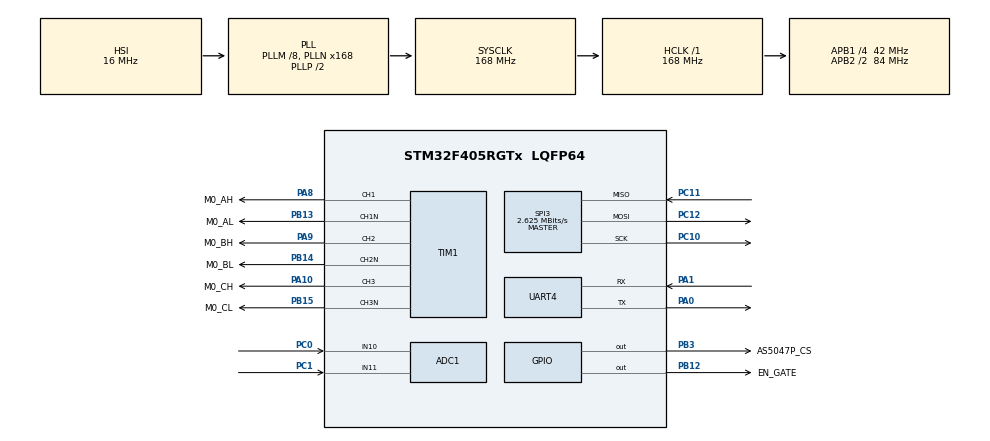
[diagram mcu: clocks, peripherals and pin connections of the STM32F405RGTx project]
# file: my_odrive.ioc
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ADC1.Channel-0\#ChannelRegularConversion=ADC_CHANNEL_10
ADC1.Channel-1\#ChannelInjectedConversion=ADC_CHANNEL_10
ADC1.Channel-2\#ChannelInjectedConversion=ADC_CHANNEL_11
ADC1.ExternalTrigInjecConv=ADC_EXTERNALTRIGINJECCONV_T1_TRGO
ADC1.InjNumberOfConversion=2
ADC1.InjectedOffset-1\#ChannelInjectedConversion=0
ADC1.InjectedOffset-2\#ChannelInjectedConversion=0
ADC1.InjectedRank-1\#ChannelInjectedConversion=1
ADC1.InjectedRank-2\#ChannelInjectedConversion=2
ADC1.NbrOfConversion=1
ADC1.NbrOfConversionFlag=1
ADC1.Rank-0\#ChannelRegularConversion=1
ADC1.SamplingTime-0\#ChannelRegularConversion=ADC_SAMPLETIME_3CYCLES
ADC1.SamplingTime-1\#ChannelInjectedConversion=ADC_SAMPLETIME_3CYCLES
ADC1.SamplingTime-2\#ChannelInjectedConversion=ADC_SAMPLETIME_3CYCLES
ADC1.master=1
Dma.Request0=SPI3_RX
Dma.Request1=SPI3_TX
Dma.SPI3_RX.0.Direction=DMA_PERIPH_TO_MEMORY
Dma.SPI3_RX.0.FIFOMode=DMA_FIFOMODE_DISABLE
Dma.SPI3_RX.0.Instance=DMA1_Stream0
Dma.SPI3_RX.0.MemDataAlignment=DMA_MDATAALIGN_HALFWORD
Dma.SPI3_RX.0.MemInc=DMA_MINC_ENABLE
Dma.SPI3_RX.0.Mode=DMA_NORMAL
Dma.SPI3_RX.0.PeriphDataAlignment=DMA_PDATAALIGN_HALFWORD
Dma.SPI3_RX.0.PeriphInc=DMA_PINC_DISABLE
Dma.SPI3_RX.0.Priority=DMA_PRIORITY_LOW
Dma.SPI3_TX.1.Direction=DMA_MEMORY_TO_PERIPH
Dma.SPI3_TX.1.FIFOMode=DMA_FIFOMODE_DISABLE
Dma.SPI3_TX.1.Instance=DMA1_Stream5
Dma.SPI3_TX.1.MemDataAlignment=DMA_MDATAALIGN_HALFWORD
Dma.SPI3_TX.1.MemInc=DMA_MINC_ENABLE
Dma.SPI3_TX.1.Mode=DMA_NORMAL
Dma.SPI3_TX.1.PeriphDataAlignment=DMA_PDATAALIGN_HALFWORD
Dma.SPI3_TX.1.PeriphInc=DMA_PINC_DISABLE
Dma.SPI3_TX.1.Priority=DMA_PRIORITY_LOW
Mcu.Family=STM32F4
Mcu.Name=STM32F405RGTx
Mcu.Package=LQFP64
Mcu.UserConstants=TIM_1_8_PERIOD_CLOCKS,2099;TIM_APB1_CLOCK_HZ,84000000;TIM_APB1_DEADTIME_CLOCKS,40;TIM_APB1_PERIOD_CLOCKS,4096;TIM_1_8_RCR,2;TIM_1_8_DEADTIME_CLOCKS,20;TIM_1_8_CLOCK_HZ,168000000
NVIC.ADC_IRQn=true\:1\:0\:true\:false\:true\:true\:true\:true
NVIC.DMA1_Stream0_IRQn=true\:0\:0\:false\:false\:true\:false\:true\:true
NVIC.DMA1_Stream5_IRQn=true\:0\:0\:false\:false\:true\:false\:true\:true
NVIC.PriorityGroup=NVIC_PRIORITYGROUP_4
NVIC.SPI3_IRQn=true\:0\:0\:false\:false\:true\:true\:true\:true
NVIC.TIM2_IRQn=true\:1\:0\:true\:false\:true\:true\:true\:true
NVIC.TIM8_TRG_COM_TIM14_IRQn=true\:15\:0\:false\:false\:true\:false\:true\:true
NVIC.TimeBase=TIM8_TRG_COM_TIM14_IRQn
NVIC.TimeBaseIP=TIM14
PA0-WKUP.Mode=Asynchronous
PA0-WKUP.Signal=UART4_TX
PA1.Mode=Asynchronous
PA1.Signal=UART4_RX
PA10.GPIO_Label=M0_CH
PA10.Signal=S_TIM1_CH3
PA13.Mode=Serial_Wire
PA13.Signal=SYS_JTMS-SWDIO
PA14.Mode=Serial_Wire
PA14.Signal=SYS_JTCK-SWCLK
PA6.GPIO_Label=VBS_S
PA6.Signal=ADCx_IN6
PA8.GPIO_Label=M0_AH
PA8.Signal=S_TIM1_CH1
PA9.GPIO_Label=M0_BH
PA9.Signal=S_TIM1_CH2
PB12.GPIO_Label=EN_GATE
PB12.Signal=GPIO_Output
PB13.GPIO_Label=M0_AL
PB13.Mode=PWM Generation1 CH1 CH1N
PB13.Signal=TIM1_CH1N
PB14.GPIO_Label=M0_BL
PB14.Mode=PWM Generation2 CH2 CH2N
PB14.Signal=TIM1_CH2N
PB15.GPIO_Label=M0_CL
PB15.Mode=PWM Generation3 CH3 CH3N
PB15.Signal=TIM1_CH3N
PB3.GPIO_Label=AS5047P_CS
PB3.Signal=GPIO_Output
PC0.Signal=ADCx_IN10
PC1.Signal=ADCx_IN11
PC10.Mode=Full_Duplex_Master
PC10.Signal=SPI3_SCK
PC11.Mode=Full_Duplex_Master
PC11.Signal=SPI3_MISO
PC12.Mode=Full_Duplex_Master
PC12.Signal=SPI3_MOSI
PC5.GPIO_Label=M0_TEMP
PC5.Signal=ADCx_IN15
PH0-OSC_IN.Mode=HSE-External-Oscillator
PH0-OSC_IN.Signal=RCC_OSC_IN
PH1-OSC_OUT.Mode=HSE-External-Oscillator
PH1-OSC_OUT.Signal=RCC_OSC_OUT
ProjectManager.HeapSize=0x200
ProjectManager.StackSize=0x400
ProjectManager.TargetToolchain=MDK-ARM V5.32
RCC.48MHZClocksFreq_Value=84000000
RCC.AHBFreq_Value=168000000
RCC.APB1CLKDivider=RCC_HCLK_DIV4
RCC.APB1Freq_Value=42000000
RCC.APB1TimFreq_Value=84000000
RCC.APB2CLKDivider=RCC_HCLK_DIV2
RCC.APB2Freq_Value=84000000
RCC.APB2TimFreq_Value=168000000
RCC.CortexFreq_Value=168000000
RCC.HCLKFreq_Value=168000000
RCC.HSE_VALUE=8000000
RCC.HSI_VALUE=16000000
RCC.LSE_VALUE=32768
RCC.PLLM=8
RCC.PLLN=168
RCC.SYSCLKFreq_VALUE=168000000
RCC.SYSCLKSource=RCC_SYSCLKSOURCE_PLLCLK
RCC.VCOOutputFreq_Value=336000000
RealThread.X-CUBE-RT-Thread_Nano.4.1.1.RT_DEBUG=1
RealThread.X-CUBE-RT-Thread_Nano.4.1.1.RT_DEBUG_INIT=1
RealThread.X-CUBE-RT-Thread_Nano.4.1.1.RT_TIMER_THREAD_STACK_SIZE=512
RealThread.X-CUBE-RT-Thread_Nano.4.1.1.RT_USING_DEVICE=0
RealThread.X-CUBE-RT-Thread_Nano.4.1.1.RT_USING_FINSH=1
RealThread.X-CUBE-RT-Thread_Nano.4.1.1.RT_USING_HEAP=0
RealThread.X-CUBE-RT-Thread_Nano.4.1.1.RT_USING_OVERFLOW_CHECK=1
RealThread.X-CUBE-RT-Thread_Nano.4.1.1.RT_USING_SMALL_MEM=0
RealThread.X-CUBE-RT-Thread_Nano.4.1.1.RT_USING_SMALL_MEM_AS_HEAP=0
SH.ADCx_IN10.0=ADC2_IN10
SH.ADCx_IN10.1=ADC1_IN10,IN10
SH.ADCx_IN11.0=ADC1_IN11,IN11
SH.ADCx_IN15.0=ADC2_IN15
SH.ADCx_IN15.1=ADC1_IN15
SH.ADCx_IN6.0=ADC1_IN6
SH.ADCx_IN6.1=ADC2_IN6
SH.S_TIM1_CH1.0=TIM1_CH1,PWM Generation1 CH1 CH1N
SH.S_TIM1_CH2.0=TIM1_CH2,PWM Generation2 CH2 CH2N
SH.S_TIM1_CH3.0=TIM1_CH3,PWM Generation3 CH3 CH3N
SPI3.BaudRatePrescaler=SPI_BAUDRATEPRESCALER_16
SPI3.CLKPhase=SPI_PHASE_2EDGE
SPI3.CalculateBaudRate=2.625 MBits/s
SPI3.DataSize=SPI_DATASIZE_16BIT
SPI3.Direction=SPI_DIRECTION_2LINES
SPI3.Mode=SPI_MODE_MASTER
SPI3.VirtualType=VM_MASTER
STMicroelectronics.X-CUBE-ALGOBUILD.1.4.0.LibraryCcDSPOoLibraryJjDSPOoLibrary=true
TIM1.Channel-Output\ Compare4\ No\ Output=TIM_CHANNEL_4
TIM1.Channel-PWM\ Generation1\ CH1\ CH1N=TIM_CHANNEL_1
TIM1.Channel-PWM\ Generation2\ CH2\ CH2N=TIM_CHANNEL_2
TIM1.Channel-PWM\ Generation3\ CH3\ CH3N=TIM_CHANNEL_3
TIM1.CounterMode=TIM_COUNTERMODE_CENTERALIGNED3
TIM1.DeadTime=TIM_1_8_DEADTIME_CLOCKS
TIM1.OCMode_PWM-PWM\ Generation1\ CH1\ CH1N=TIM_OCMODE_PWM2
TIM1.OCMode_PWM-PWM\ Generation2\ CH2\ CH2N=TIM_OCMODE_PWM2
TIM1.OCMode_PWM-PWM\ Generation3\ CH3\ CH3N=TIM_OCMODE_PWM2
TIM1.OffStateIDLEMode=TIM_OSSI_ENABLE
TIM1.OffStateRunMode=TIM_OSSR_ENABLE
TIM1.Period=TIM_1_8_PERIOD_CLOCKS
TIM1.RepetitionCounter=TIM_1_8_RCR
TIM1.TIM_MasterOutputTrigger=TIM_TRGO_UPDATE
TIM2.Period=1000-1
TIM2.Prescaler=168-1
UART4.VirtualMode=Asynchronous
VP_STMicroelectronics.X-CUBE-ALGOBUILD_VS_DSPOoLibraryJjLibrary_1.4.0_1.4.0.Mode=DSPOoLibraryJjLibrary
VP_SYS_VS_tim14.Mode=TIM14
VP_TIM1_VS_ClockSourceINT.Mode=Internal
VP_TIM1_VS_no_output4.Mode=Output Compare4 No Output
VP_TIM2_VS_ClockSourceINT.Mode=Internal
board=custom

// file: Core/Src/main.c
/* USER CODE BEGIN Header */
/**
  ******************************************************************************
  * @file           : main.c
  * @brief          : Main program body
  ******************************************************************************
  * @attention
  *
  * Copyright (c) 2025 STMicroelectronics.
  * All rights reserved.
  *
  * This software is licensed under terms that can be found in the LICENSE file
  * in the root directory of this software component.
  * If no LICENSE file comes with this software, it is provided AS-IS.
  *
  ******************************************************************************
  */
/* USER CODE END Header */
#include "main.h"
#include "adc.h"
#include "dma.h"
#include "spi.h"
#include "tim.h"
#include "usart.h"
#include "gpio.h"

/* USER CODE BEGIN Includes */
#include "stdio.h"

#include "utils.h"
#include "as5047p.h"

/* USER CODE END Includes */

/* USER CODE BEGIN PTD */

#define _constrain(amt,low,high) ((amt)<(low)?(low):((amt)>(high)?(high):(amt)))

/* USER CODE END PTD */

/* USER CODE BEGIN PM */
#ifdef __GNUC__
 #define PUTCHAR_PROTOTYPE int __io_putchar(int ch)
 #else
 #define PUTCHAR_PROTOTYPE int fputc(int ch, FILE *f)
 #endif
// PUTCHAR_PROTOTYPE
// {
// HAL_UART_Transmit(&huart4 , (uint8_t *)&ch, 1, 0xFFFF);  //ʹ�õĴ���handle
// return ch;
// }
 int fputc(int ch,FILE *f)
{
	HAL_UART_Transmit(&huart4,(uint8_t*)&ch,1,0xffff);
	return ch;
}
/* USER CODE END PM */

/* USER CODE BEGIN PV */
void setPhaseVoltage(float Uq, float Ud, float angle_el);

float LPF_velocity(float x);
float PID_velocity(float error);
//float angle=0;
float angle_el=0;
extern float voltage_power_supply;
float y_vel_prev=0;
float vel_LPF=0;
float Ts=0.002;                     //2ms的控制周期
float integral_vel_prev;

//PID控制器参数赋值：
float KP_vel=0.001;             //比较合适的参数不同电机参数不同
float KI_vel=0.1;
float KD_vel=0;
float voltage_limit = 2;        //转速环输出(Uq)限幅 =2
float integral_limit = 2;
//float angle_c=0;

float KP_ang=0.1;           //修改系数区别不大
float KI_ang=1;
float KD_ang=0;
float speed_limit=30;      //30 rad/s

//ADC
float u_1, u_2, i_1, i_2;

float vel_sp=30;											//电机转速初值
float angle_sp=3.14159;								//电机angle转动初值
extern float Uq_set;
extern float vel_c,angle_prev;

/* USER CODE END PV */

void SystemClock_Config(void);

int main(void)
{

  /* MCU Configuration--------------------------------------------------------*/

  /* Reset of all peripherals, Initializes the Flash interface and the Systick. */
  HAL_Init();

  /* Configure the system clock */
  SystemClock_Config();

  /* Initialize all configured peripherals */
  MX_GPIO_Init();
  MX_DMA_Init();
  MX_UART4_Init();
  MX_TIM1_Init();
  MX_SPI3_Init();
  MX_TIM2_Init();
  MX_ADC1_Init();
  /* USER CODE BEGIN 2 */
	HAL_GPIO_WritePin(EN_GATE_GPIO_Port, EN_GATE_Pin, GPIO_PIN_SET);

		angle_mon_flag=1;
		as5047_start();
	  HAL_ADCEx_InjectedStart_IT(&hadc1);
		//输出6路PWM
	HAL_TIM_PWM_Start(&htim1,TIM_CHANNEL_1);
	HAL_TIM_PWM_Start(&htim1,TIM_CHANNEL_2);
	HAL_TIM_PWM_Start(&htim1,TIM_CHANNEL_3);
	HAL_TIMEx_PWMN_Start(&htim1,TIM_CHANNEL_1);
	HAL_TIMEx_PWMN_Start(&htim1,TIM_CHANNEL_2);
	HAL_TIMEx_PWMN_Start(&htim1,TIM_CHANNEL_3);

		voltage_power_supply=11;
for(int i ; i<1000;i++)
{
			setPhaseVoltage(0,1,0);    //
}
	HAL_TIM_Base_Start_IT(&htim2);                 //打开TIM2定时器中断
//		printf("system is runing\r\n");
  /* USER CODE END 2 */

  /* Infinite loop */
  while (1)
  {

    /* USER CODE BEGIN 3 */
			printf("angle = %f  vel_LPF = %f   i_1 = %f  i_2 = %f \r\n",angle,vel_LPF,i_1,i_2);
//			angle_el=angle*7;
//	Uq_set = PID_velocity(vel_sp-vel_LPF);        //vel_LPF电机实际转速
//	setPhaseVoltage(Uq_set, 0, -angle_el);
//    printf("speed=%f  ud = %f\n",vel_LPF,Uq_set);
		HAL_Delay(500);
  }
  /* USER CODE END 3 */
}

void SystemClock_Config(void)
{
  RCC_OscInitTypeDef RCC_OscInitStruct = {0};
  RCC_ClkInitTypeDef RCC_ClkInitStruct = {0};

  /** Configure the main internal regulator output voltage
  */
  __HAL_RCC_PWR_CLK_ENABLE();
  __HAL_PWR_VOLTAGESCALING_CONFIG(PWR_REGULATOR_VOLTAGE_SCALE1);

  /** Initializes the RCC Oscillators according to the specified parameters
  * in the RCC_OscInitTypeDef structure.
  */
  RCC_OscInitStruct.OscillatorType = RCC_OSCILLATORTYPE_HSI;
  RCC_OscInitStruct.HSIState = RCC_HSI_ON;
  RCC_OscInitStruct.HSICalibrationValue = RCC_HSICALIBRATION_DEFAULT;
  RCC_OscInitStruct.PLL.PLLState = RCC_PLL_ON;
  RCC_OscInitStruct.PLL.PLLSource = RCC_PLLSOURCE_HSI;
  RCC_OscInitStruct.PLL.PLLM = 8;
  RCC_OscInitStruct.PLL.PLLN = 168;
  RCC_OscInitStruct.PLL.PLLP = RCC_PLLP_DIV2;
  RCC_OscInitStruct.PLL.PLLQ = 4;
  if (HAL_RCC_OscConfig(&RCC_OscInitStruct) != HAL_OK)
  {
    Error_Handler();
  }

  /** Initializes the CPU, AHB and APB buses clocks
  */
  RCC_ClkInitStruct.ClockType = RCC_CLOCKTYPE_HCLK|RCC_CLOCKTYPE_SYSCLK
                              |RCC_CLOCKTYPE_PCLK1|RCC_CLOCKTYPE_PCLK2;
  RCC_ClkInitStruct.SYSCLKSource = RCC_SYSCLKSOURCE_PLLCLK;
  RCC_ClkInitStruct.AHBCLKDivider = RCC_SYSCLK_DIV1;
  RCC_ClkInitStruct.APB1CLKDivider = RCC_HCLK_DIV4;
  RCC_ClkInitStruct.APB2CLKDivider = RCC_HCLK_DIV2;

  if (HAL_RCC_ClockConfig(&RCC_ClkInitStruct, FLASH_LATENCY_5) != HAL_OK)
  {
    Error_Handler();
  }
}

/* USER CODE BEGIN 4 */
/***********************************反馈转速低通滤波*******************************************/
float LPF_velocity(float x)
{
	float y = 0.9*y_vel_prev + 0.1*x;

	y_vel_prev=y;

	return y;
}
//***********************************转速PID函数*******************************************/
float PID_velocity(float error)
{
	float output,output_vel_prev;
	float proportional,integral,derivative;
	float error_vel_prev;

	proportional = KP_vel * (error);
	integral = integral_vel_prev + KI_vel*Ts*error;
	integral = _constrain(integral, -integral_limit, integral_limit);
	derivative = KD_vel*(error - error_vel_prev)/Ts;

	output = proportional + integral + derivative;
	output = _constrain(output, -voltage_limit, voltage_limit);

	//存储上一次过程量
	integral_vel_prev = integral;
	output_vel_prev = output;
	error_vel_prev = error;

	return output;
}

//***********************************angle环 PID函数*******************************************/
float PID_angle(float error)
{
	float output,output_vel_prev;
	float proportional,integral,derivative;
	float error_vel_prev;

	proportional = KP_vel * (error);
	integral = integral_vel_prev + KI_vel*Ts*error;
	integral = _constrain(integral, -integral_limit, integral_limit);
	derivative = KD_vel*(error - error_vel_prev)/Ts;

	output = proportional + integral + derivative;
	output = _constrain(output, -voltage_limit, voltage_limit);

	//存储上一次过程量
	integral_vel_prev = integral;
	output_vel_prev = output;
	error_vel_prev = error;

	return output;
}

void HAL_ADCEx_InjectedConvCpltCallback(ADC_HandleTypeDef *hadc) //电流计算-clarke变换-Park变换-PID-SVPWM-PWM
{
  if (hadc->Instance == ADC1)
  {
    u_1 = 3.3f * ((float)hadc->Instance->JDR1/ ((1 << 12) - 1) - 0.5);
    u_2 = 3.3f * ((float)hadc->Instance->JDR2 / ((1 << 12) - 1) - 0.5);
		i_1= u_1 / 0.0005f / 10;
    i_2 = u_2 / 0.0005f / 10;
	printf("angle = %f  vel_LPF = %f   i_1 = %f  i_2 = %f \r\n",angle,vel_LPF,i_1,i_2);
	angle_el=angle_Multi*7;
	setPhaseVoltage(Uq_set, 0, -angle_el);

  }

}

/* USER CODE END 4 */

void HAL_TIM_PeriodElapsedCallback(TIM_HandleTypeDef *htim)
{
  if (htim->Instance == TIM14)
  {
    HAL_IncTick();
  }
}

void Error_Handler(void)
{
  __disable_irq();
  while (1)
  {
  }
}
